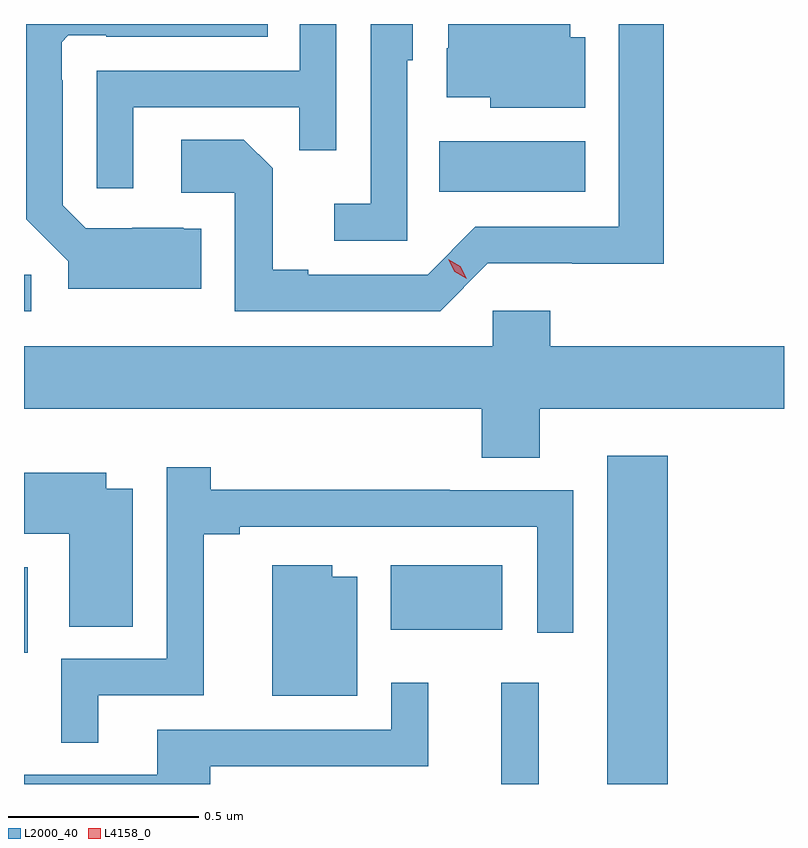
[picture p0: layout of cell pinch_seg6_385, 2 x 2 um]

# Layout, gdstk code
import gdstk
lib = gdstk.Library(unit=1e-6, precision=1e-09)
def R(c, l, rs):  # rectangles x0, y0, x1, y1
    for r in rs: c.add(gdstk.rectangle(r[:2], r[2:], *l))
def P(c, l, *ps):  # polygons
    for p in ps: c.add(gdstk.Polygon(p, *l))
L2000_40 = (2000, 40)
L4158_0 = (4158, 0)

pinch_seg6_385 = lib.new_cell('pinch_seg6_385')
R(pinch_seg6_385, L2000_40, [(660.119,951.676,660.218,951.943), (660.398,951.676,660.557,952.54), (658.863,952.022,658.873,952.246), (659.828,952.082,660.121,952.252), (658.863,952.92,658.882,953.016), (659.956,953.234,660.34,953.368)])
P(pinch_seg6_385, L2000_40, [(659.871,953.58),(659.886,953.58),(659.886,953.676),(659.775,953.676),(659.775,953.203),(659.679,953.203),(659.679,953.106),(659.871,953.106)],
  [(660.084,953.046),(660.306,953.046),(660.306,953.045),(660.547,953.045),(660.547,953.676),(660.428,953.676),(660.428,953.142),(660.051,953.142),(659.925,953.016),(659.611,953.016),(659.611,953.029),(659.517,953.029),(659.517,953.296),(659.441,953.372),(659.277,953.372),(659.277,953.232),(659.418,953.232),(659.418,952.92),(659.958,952.92)],
  [(659.329,953.137),(659.285,953.137),(659.282,953.14),(659.148,953.14),(659.148,953.139),(659.025,953.139),(658.965,953.199),(658.965,953.528),(658.962,953.528),(658.962,953.628),(658.98,953.646),(659.08,953.646),(659.08,953.643),(659.504,953.643),(659.504,953.676),(658.869,953.676),(658.869,953.162),(658.979,953.052),(658.979,952.979),(659.329,952.979)],
  [(659.151,953.457),(659.587,953.457),(659.587,953.344),(659.685,953.344),(659.685,953.676),(659.589,953.676),(659.589,953.553),(659.055,953.553),(659.055,953.244),(659.151,953.244)],
  [(660.34,953.641),(660.301,953.641),(660.301,953.676),(659.979,953.676),(659.979,953.612),(659.975,953.612),(659.975,953.483),(660.09,953.483),(660.09,953.456),(660.34,953.456)],
  [(660.22,952.664),(660.863,952.664),(660.863,952.828),(660.248,952.828),(660.248,952.921),(660.096,952.921),(660.096,952.828),(658.863,952.828),(658.863,952.664),(660.068,952.664),(660.068,952.534),(660.22,952.534)],
  [(659.059,951.909),(659.336,951.909),(659.336,952.333),(659.431,952.333),(659.431,952.353),(660.213,952.353),(660.213,952.074),(660.309,952.074),(660.309,952.449),(659.984,952.449),(659.984,952.451),(659.354,952.451),(659.354,952.51),(659.238,952.51),(659.238,952.005),(658.961,952.005),(658.961,951.785),(659.059,951.785)],
  [(659.149,952.453),(659.08,952.453),(659.08,952.495),(658.864,952.495),(658.864,952.334),(658.982,952.334),(658.982,952.09),(659.149,952.09)],
  [(659.74,952.222),(659.674,952.222),(659.674,952.252),(659.516,952.252),(659.516,951.908),(659.74,951.908)],
  [(659.353,951.723),(659.927,951.723),(659.927,951.943),(659.829,951.943),(659.829,951.819),(659.213,951.819),(659.213,951.7),(658.863,951.7),(658.863,951.676),(659.353,951.676)])
P(pinch_seg6_385, L4158_0, [(660.028,953.005),(659.997,953.024),(659.979,953.057),(659.979,953.057),(659.98,953.057),(660.011,953.038),(660.028,953.005),(660.028,953.005)])

lib.write_gds('pinch_seg6_385.gds')
